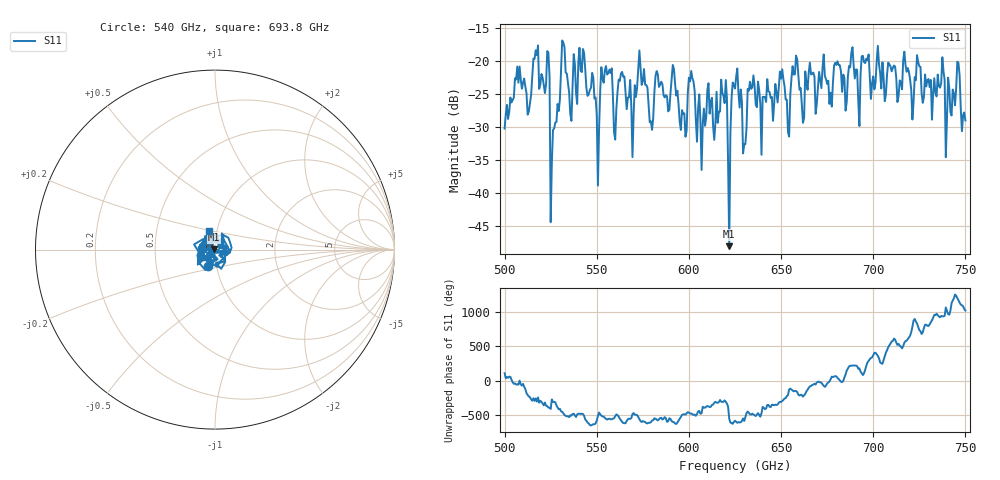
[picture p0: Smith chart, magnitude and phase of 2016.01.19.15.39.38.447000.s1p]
!Created with skrf (http://scikit-rf.org).
# GHz S RI R 50.0
!freq ReS11 ImS11
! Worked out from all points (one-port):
!   401 points, 500 GHz to 750 GHz, reference 50 ohm
!   lowest |S11| = -48.0 dB at 621.9 GHz (marker M1), VSWR 1.01, Z = 49.6 + j0.0606 ohm
!   |S11| at or under -10 dB: start of sweep to end of sweep
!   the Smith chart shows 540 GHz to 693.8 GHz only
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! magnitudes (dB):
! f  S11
! 500 GHz  -30.2
! 506.9 GHz  -20.8
! 513.1 GHz  -27.7
! 516.9 GHz  -18.4
! 523.1 GHz  -18.5
! 526.2 GHz  -30.4
! 531.2 GHz  -16.9
! 535.6 GHz  -28.0
! 541.9 GHz  -21.7
! 550 GHz  -28.2
! 553.8 GHz  -23.3
! 560 GHz  -31.9
! 562.5 GHz  -23.0
! 593.8 GHz  -24.5
! 601.2 GHz  -21.5
! 607.5 GHz  -29.5
! 618.8 GHz  -25.3
! 621.9 GHz  -48.0
! 625 GHz  -24.2
! 630 GHz  -32.6
! 633.8 GHz  -24.2
! 653.8 GHz  -30.8
! 656.2 GHz  -20.8
! 687.5 GHz  -20.9
! 718.8 GHz  -21.1
! 740.6 GHz  -22.5
! 746.2 GHz  -20.3
! 750 GHz  -29.0
